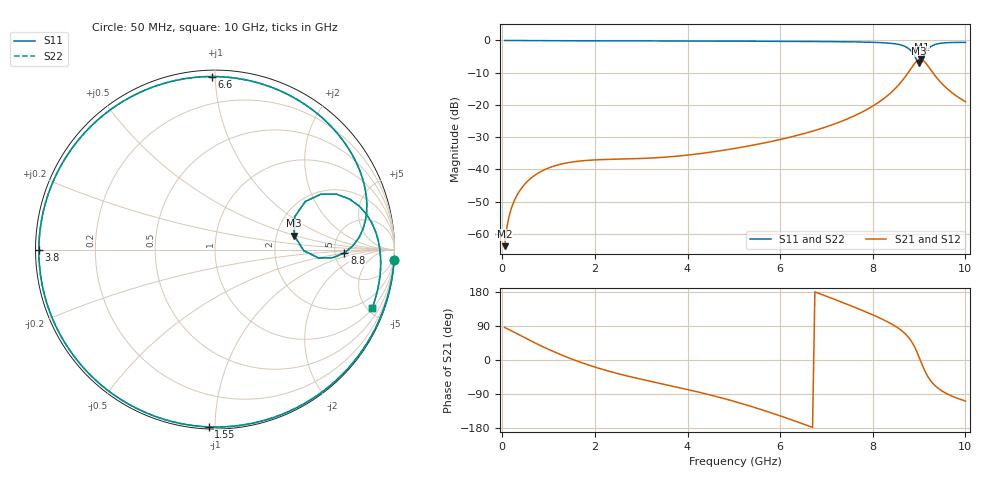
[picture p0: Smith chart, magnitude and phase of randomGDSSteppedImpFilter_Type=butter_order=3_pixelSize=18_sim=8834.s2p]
! freq	dB(S11)	phase(S11)	dB(S12)	phase(S12)
!  dB(S21)	phase(S21)	dB(S22)	phase(S22)
!S-par simulation data
#  GHz  S  DB  R 50
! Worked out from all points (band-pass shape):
!   200 points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, 50 MHz to 10 GHz, reference 50 ohm
!   highest |S21| = -5.90 dB at 9.05 GHz (marker M1); lowest = -63.8 dB at 50 MHz (marker M2)
!   |S21| within 3 dB of the highest: 8.817 GHz to 9.242 GHz (424.6 MHz wide, 4.7 % of centre)
!   lowest |S11| = -7.0 dB at 9 GHz (marker M3), VSWR 2.63, Z = 126 + j24.6 ohm
!   |S11| at or under -10 dB: nowhere
!   |S22| runs from -7.0 to 0.0 dB; largest |S21 - S12| = 0
!   S11 on the Smith chart (normalised r, x): 50 MHz: 0, -35; 1.55 GHz: 0.01, -0.97; 3.8 GHz: 0.01, -0.00; 6.6 GHz: 0.04, +0.98; 8.8 GHz: 6.15, -0.47; 10 GHz: 1.03, -5.32
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0.05  -0.00 -3.3  -63.84 85.9  -63.84 85.9  -0.00 -3.3
0.1  -0.01 -6.6  -57.86 83.1  -57.86 83.1  -0.01 -6.6
0.2  -0.02 -13.1  -51.92 76.8  -51.92 76.8  -0.02 -13.1
0.45  -0.04 -29.2  -45.19 60.9  -45.19 60.9  -0.04 -29.2
1  -0.07 -62.5  -39.57 28.0  -39.57 28.0  -0.07 -62.6
1.55  -0.10 -92.0  -37.64 0.2  -37.64 0.2  -0.10 -92.0
1.75  -0.11 -101.7  -37.32 -8.6  -37.32 -8.6  -0.11 -101.7
2.55  -0.13 -135.9  -36.81 -37.6  -36.81 -37.6  -0.13 -135.9
3.4  -0.15 -166.6  -36.33 -61.6  -36.33 -61.6  -0.15 -166.6
3.8  -0.16 -179.8  -35.87 -72.3  -35.87 -72.3  -0.16 -179.8
5.05  -0.21 141.0  -33.43 -110.7  -33.43 -110.7  -0.21 141.0
5.85  -0.26 115.7  -31.22 -141.2  -31.22 -141.2  -0.26 115.7
6.6  -0.32 90.9  -28.56 -173.4  -28.56 -173.4  -0.32 90.9
6.7  -0.32 87.5  -28.14 -177.9  -28.14 -177.9  -0.32 87.5
7.55  -0.44 57.0  -23.74 142.0  -23.74 142.0  -0.44 57.0
8.35  -0.84 24.0  -16.74 98.8  -16.74 98.8  -0.84 24.0
8.8  -2.83 -1.5  -9.26 55.3  -9.26 55.3  -2.84 -1.5
9  -6.96 10.0  -5.92 7.7  -5.92 7.7  -6.98 10.0
9.05  -6.36 22.4  -5.90 -7.7  -5.90 -7.7  -6.38 22.4
9.2  -2.57 24.5  -8.06 -45.9  -8.06 -45.9  -2.57 24.5
9.4  -1.05 9.6  -11.90 -73.5  -11.90 -73.5  -1.05 9.6
10  -0.59 -20.5  -19.00 -108.2  -19.00 -108.2  -0.59 -20.5
